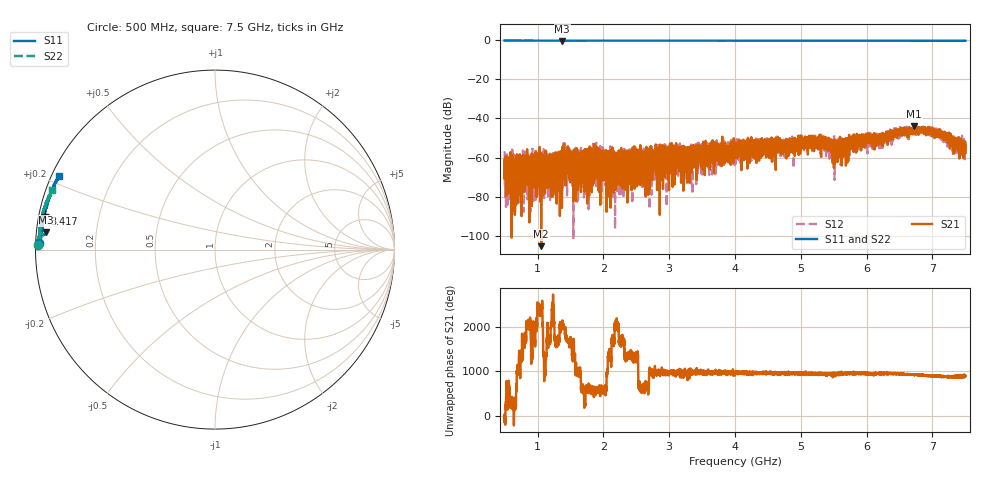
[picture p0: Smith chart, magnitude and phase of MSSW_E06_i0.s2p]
!Keysight Technologies,M9374A,MY55442783,A.12.55.05
!Date: Thursday, May 20, 2021 14:00:38
!Correction: S11(Full 2 Port(1,2))
!S21(Full 2 Port(1,2))
!S12(Full 2 Port(1,2))
!S22(Full 2 Port(1,2))
!S2P File: Measurements: S11, S21, S12, S22:
# Hz S  RI  R 50
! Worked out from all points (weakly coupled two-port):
!   7001 points, 500 MHz to 7.5 GHz, reference 50 ohm
!   highest |S21| = -44.06 dB at 6.724 GHz (marker M1); lowest = -105.2 dB at 1.056 GHz (marker M2)
!   lowest |S11| = -0.5 dB at 1.374 GHz (marker M3), VSWR 36.20, Z = 1.38 + j2.58 ohm
!   |S11| at or under -10 dB: nowhere
!   |S22| runs from -0.4 to -0.1 dB; largest |S21 - S12| = 0.0032
!   S11 on the Smith chart (normalised r, x): 500 MHz: 0.01, +0.02; 3.417 GHz: 0.02, +0.10; 7.5 GHz: 0.02, +0.23
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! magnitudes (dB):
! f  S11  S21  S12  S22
! 500 MHz  -0.2  -66.8  -56.7  -0.1
! 552 MHz  -0.2  -64.0  -64.6  -0.1
! 661 MHz  -0.2  -84.6  -61.2  -0.1
! 1.056 GHz  -0.2  -105.2  -61.1  -0.1
! 1.223 GHz  -0.2  -61.7  -76.5  -0.1
! 1.374 GHz  -0.5  -64.6  -63.9  -0.3
! 1.405 GHz  -0.4  -61.3  -56.4  -0.3
! 1.6 GHz  -0.3  -68.3  -63.3  -0.2
! 1.667 GHz  -0.3  -57.6  -75.4  -0.2
! 1.756 GHz  -0.3  -82.8  -78.1  -0.2
! 1.826 GHz  -0.3  -59.5  -58.3  -0.2
! 1.892 GHz  -0.3  -64.9  -59.1  -0.2
! 2.208 GHz  -0.3  -64.6  -69.6  -0.2
! 2.834 GHz  -0.3  -60.1  -57.9  -0.1
! 3.417 GHz  -0.3  -56.4  -58.2  -0.1
! 4 GHz  -0.3  -55.4  -54.3  -0.2
! 5.167 GHz  -0.3  -51.0  -50.0  -0.2
! 5.549 GHz  -0.3  -53.2  -59.7  -0.2
! 6.334 GHz  -0.3  -47.1  -47.5  -0.2
! 6.724 GHz  -0.3  -44.1  -46.2  -0.3
! 7.118 GHz  -0.3  -49.3  -48.5  -0.3
! 7.5 GHz  -0.3  -54.7  -52.4  -0.3
